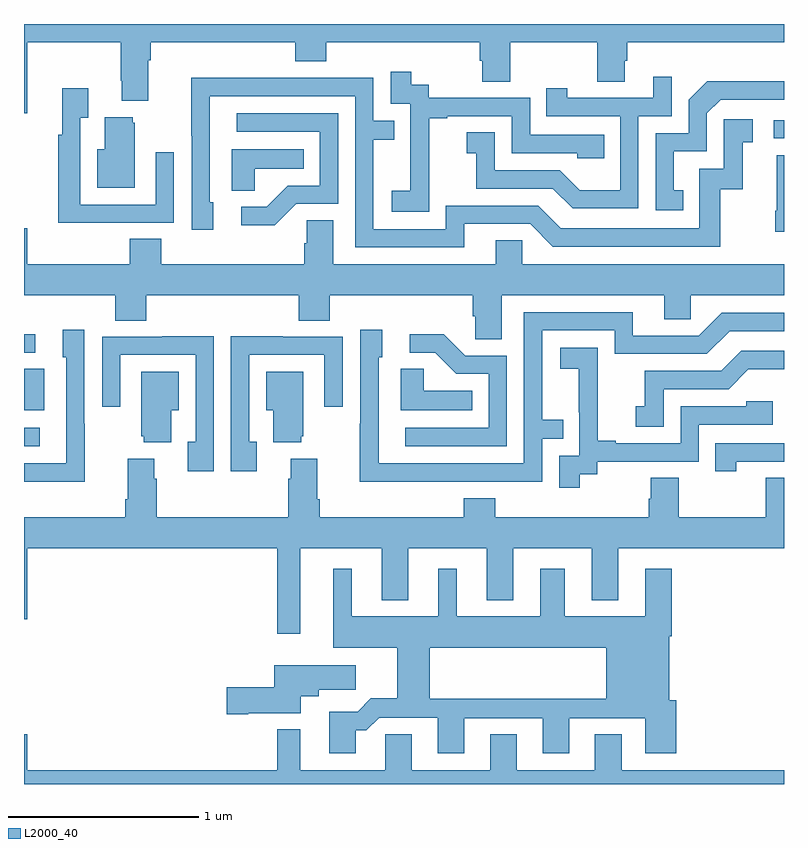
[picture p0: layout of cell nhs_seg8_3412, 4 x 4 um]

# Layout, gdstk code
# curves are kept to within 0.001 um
import gdstk
lib = gdstk.Library(unit=1e-6, precision=1e-09)
def R(c, l, rs):  # rectangles x0, y0, x1, y1
    for r in rs: c.add(gdstk.rectangle(r[:2], r[2:], *l))
def P(c, l, *ps):  # polygons
    for p in ps: c.add(gdstk.Polygon(p, *l))
L2000_40 = (2000, 40)

nhs_seg8_3412 = lib.new_cell('nhs_seg8_3412')
R(nhs_seg8_3412, L2000_40, [(321,1143.678,321.082,1143.774), (321,1143.866,321.106,1144.085), (321,1144.17,321.058,1144.268), (324.945,1145.298,325,1145.394)])
P(nhs_seg8_3412, L2000_40, [(321.016,1145.804),(321.508,1145.804),(321.508,1145.602),(321.515,1145.602),(321.515,1145.495),(321.655,1145.495),(321.655,1145.708),(321.668,1145.708),(321.668,1145.804),(322.427,1145.804),(322.427,1145.705),(322.592,1145.705),(322.592,1145.804),(323.399,1145.804),(323.399,1145.706),(323.411,1145.706),(323.411,1145.596),(323.559,1145.596),(323.559,1145.804),(324.016,1145.804),(324.016,1145.596),(324.163,1145.596),(324.163,1145.706),(324.176,1145.706),(324.176,1145.804),(325,1145.804),(325,1145.9),(321,1145.9),(321,1145.43),(321.016,1145.43)],
  [(323.133,1145.119),(323.132,1145.119),(323.132,1145.403),(323.227,1145.403),(323.227,1145.415),(323.568,1145.415),(323.568,1145.22),(323.913,1145.22),(323.913,1145.193),(324.053,1145.193),(324.053,1145.316),(323.664,1145.316),(323.664,1145.511),(323.13,1145.511),(323.13,1145.58),(323.038,1145.58),(323.038,1145.65),(322.929,1145.65),(322.929,1145.481),(323.034,1145.481),(323.034,1145.252),(323.033,1145.252),(323.033,1145.023),(322.935,1145.023),(322.935,1144.913),(323.133,1144.913)],
  [(324.234,1145.415),(324.408,1145.415),(324.408,1145.623),(324.311,1145.623),(324.311,1145.511),(323.86,1145.511),(323.86,1145.563),(323.749,1145.563),(323.749,1145.415),(324.138,1145.415),(324.138,1145.026),(323.924,1145.026),(323.82,1145.13),(323.478,1145.13),(323.478,1145.329),(323.331,1145.329),(323.331,1145.219),(323.38,1145.219),(323.38,1145.034),(323.783,1145.034),(323.888,1144.929),(324.234,1144.929)],
  [(323.317,1144.848),(323.664,1144.848),(323.784,1144.728),(324.664,1144.728),(324.664,1145.031),(324.782,1145.031),(324.782,1145.277),(324.835,1145.277),(324.835,1145.398),(324.684,1145.398),(324.684,1145.139),(324.555,1145.139),(324.555,1144.824),(323.826,1144.824),(323.706,1144.944),(323.22,1144.944),(323.22,1144.821),(322.839,1144.821),(322.839,1145.29),(322.949,1145.29),(322.949,1145.391),(322.839,1145.391),(322.839,1145.616),(322.343,1145.616),(322.343,1145.618),(321.88,1145.618),(321.88,1145.311),(321.882,1145.311),(321.882,1144.818),(321.997,1144.818),(321.997,1144.962),(321.978,1144.962),(321.978,1145.52),(322.743,1145.52),(322.743,1144.725),(323.317,1144.725)],
  [(324.47,1145.025),(324.421,1145.025),(324.421,1145.229),(324.594,1145.229),(324.594,1145.43),(324.666,1145.502),(325,1145.502),(325,1145.6),(324.596,1145.6),(324.498,1145.502),(324.498,1145.325),(324.324,1145.325),(324.324,1144.92),(324.47,1144.92)],
  [(321.473,1144.854),(321.789,1144.854),(321.789,1145.224),(321.693,1145.224),(321.693,1144.95),(321.297,1144.95),(321.297,1145.407),(321.337,1145.407),(321.337,1145.563),(321.2,1145.563),(321.2,1145.318),(321.181,1145.318),(321.181,1144.853),(321.473,1144.853)],
  [(322.434,1144.953),(322.653,1144.953),(322.653,1145.43),(322.119,1145.43),(322.119,1145.334),(322.557,1145.334),(322.557,1145.049),(322.388,1145.049),(322.277,1144.938),(322.143,1144.938),(322.143,1144.841),(322.321,1144.841)],
  [(321.583,1145.379),(321.572,1145.379),(321.572,1145.41),(321.425,1145.41),(321.425,1145.242),(321.386,1145.242),(321.386,1145.039),(321.583,1145.039)],
  [(322.215,1145.138),(322.472,1145.138),(322.472,1145.242),(322.094,1145.242),(322.094,1145.023),(322.215,1145.023)],
  [(325,1145.209),(324.962,1145.209),(324.962,1144.918),(324.955,1144.918),(324.955,1144.806),(325,1144.806)],
  [(323.622,1144.763),(323.483,1144.763),(323.483,1144.636),(322.627,1144.636),(322.627,1144.868),(322.488,1144.868),(322.488,1144.745),(322.475,1144.745),(322.475,1144.636),(321.722,1144.636),(321.722,1144.769),(321.557,1144.769),(321.557,1144.636),(321.016,1144.636),(321.016,1144.825),(321,1144.825),(321,1144.472),(321.479,1144.472),(321.479,1144.339),(321.644,1144.339),(321.644,1144.472),(322.445,1144.472),(322.445,1144.339),(322.61,1144.339),(322.61,1144.472),(323.363,1144.472),(323.363,1144.363),(323.376,1144.363),(323.376,1144.24),(323.515,1144.24),(323.515,1144.472),(324.371,1144.472),(324.371,1144.345),(324.51,1144.345),(324.51,1144.472),(325,1144.472),(325,1144.636),(323.622,1144.636)],
  [(323.231,1143.492),(323.727,1143.492),(323.727,1143.717),(323.837,1143.717),(323.837,1143.818),(323.727,1143.818),(323.727,1144.287),(324.108,1144.287),(324.108,1144.164),(324.594,1144.164),(324.714,1144.284),(325,1144.284),(325,1144.38),(324.672,1144.38),(324.552,1144.26),(324.205,1144.26),(324.205,1144.383),(323.631,1144.383),(323.631,1143.588),(322.866,1143.588),(322.866,1144.146),(322.885,1144.146),(322.885,1144.291),(322.77,1144.291),(322.77,1143.797),(322.768,1143.797),(322.768,1143.491)],
  [(321.321,1143.797),(321.318,1143.797),(321.318,1144.291),(321.203,1144.291),(321.203,1144.146),(321.222,1144.146),(321.222,1143.588),(321,1143.588),(321,1143.491),(321.321,1143.491)],
  [(323.541,1144.155),(323.322,1144.155),(323.209,1144.268),(323.031,1144.268),(323.031,1144.17),(323.165,1144.17),(323.276,1144.059),(323.445,1144.059),(323.445,1143.774),(323.007,1143.774),(323.007,1143.678),(323.541,1143.678)],
  [(321.999,1144.256),(321.727,1144.256),(321.727,1144.254),(321.411,1144.254),(321.411,1143.885),(321.507,1143.885),(321.507,1144.158),(321.903,1144.158),(321.903,1143.702),(321.863,1143.702),(321.863,1143.546),(321.999,1143.546)],
  [(322.225,1143.702),(322.185,1143.702),(322.185,1144.158),(322.581,1144.158),(322.581,1143.885),(322.677,1143.885),(322.677,1144.254),(322.361,1144.254),(322.361,1144.256),(322.089,1144.256),(322.089,1143.546),(322.225,1143.546)],
  [(323.926,1143.529),(324.018,1143.529),(324.018,1143.597),(324.552,1143.597),(324.552,1143.792),(324.941,1143.792),(324.941,1143.915),(324.801,1143.915),(324.801,1143.888),(324.456,1143.888),(324.456,1143.693),(324.115,1143.693),(324.115,1143.706),(324.02,1143.706),(324.02,1143.989),(324.021,1143.989),(324.021,1144.195),(323.823,1144.195),(323.823,1144.085),(323.921,1144.085),(323.921,1143.857),(323.922,1143.857),(323.922,1143.627),(323.817,1143.627),(323.817,1143.459),(323.926,1143.459)],
  [(324.366,1143.978),(324.708,1143.978),(324.812,1144.082),(325,1144.082),(325,1144.179),(324.776,1144.179),(324.671,1144.074),(324.268,1144.074),(324.268,1143.889),(324.219,1143.889),(324.219,1143.78),(324.366,1143.78)],
  [(323.36,1143.97),(323.103,1143.97),(323.103,1144.085),(322.982,1144.085),(322.982,1143.866),(323.36,1143.866)],
  [(321.775,1143.866),(321.814,1143.866),(321.814,1144.069),(321.617,1144.069),(321.617,1143.729),(321.629,1143.729),(321.629,1143.698),(321.775,1143.698)],
  [(322.46,1143.729),(322.471,1143.729),(322.471,1144.069),(322.274,1144.069),(322.274,1143.866),(322.313,1143.866),(322.313,1143.698),(322.46,1143.698)],
  [(324.748,1143.597),(325,1143.597),(325,1143.693),(324.637,1143.693),(324.637,1143.546),(324.748,1143.546)],
  [(322.453,1143.14),(322.883,1143.14),(322.883,1142.867),(323.023,1142.867),(323.023,1143.14),(323.435,1143.14),(323.435,1142.867),(323.575,1142.867),(323.575,1143.14),(323.987,1143.14),(323.987,1142.867),(324.127,1142.867),(324.127,1143.14),(325,1143.14),(325,1143.512),(324.904,1143.512),(324.904,1143.304),(324.447,1143.304),(324.447,1143.512),(324.299,1143.512),(324.299,1143.402),(324.287,1143.402),(324.287,1143.304),(323.48,1143.304),(323.48,1143.403),(323.315,1143.403),(323.315,1143.304),(322.556,1143.304),(322.556,1143.4),(322.543,1143.4),(322.543,1143.613),(322.403,1143.613),(322.403,1143.506),(322.391,1143.506),(322.391,1143.304),(321.698,1143.304),(321.698,1143.506),(321.685,1143.506),(321.685,1143.613),(321.545,1143.613),(321.545,1143.4),(321.533,1143.4),(321.533,1143.304),(321,1143.304),(321,1142.766),(321.016,1142.766),(321.016,1143.14),(322.332,1143.14),(322.332,1142.691),(322.453,1142.691)],
  [(322.607,1142.281),(322.607,1142.061),(322.747,1142.061),(322.747,1142.183),(322.802,1142.183),(322.869,1142.25),(323.177,1142.25),(323.177,1142.061),(323.317,1142.061),(323.317,1142.247),(323.729,1142.247),(323.729,1142.061),(323.869,1142.061),(323.869,1142.247),(324.269,1142.247),(324.269,1142.061),(324.434,1142.061),(324.434,1142.34),(324.397,1142.34),(324.397,1142.678),(324.41,1142.678),(324.41,1143.034),(324.269,1143.034),(324.269,1142.782),(323.845,1142.782),(323.845,1143.034),(323.717,1143.034),(323.717,1142.782),(323.278,1142.782),(323.278,1143.034),(323.18,1143.034),(323.18,1142.782),(322.726,1142.782),(322.726,1143.034),(322.628,1143.034),(322.628,1142.618),(322.964,1142.618),(322.964,1142.351),(322.826,1142.351),(322.823,1142.348),(323.135,1142.348),(323.135,1142.618),(324.065,1142.618),(324.065,1142.348),(322.823,1142.348),(322.756,1142.281)],
  [(322.18,1142.273),(322.456,1142.273),(322.456,1142.363),(322.552,1142.363),(322.552,1142.395),(322.747,1142.395),(322.747,1142.524),(322.316,1142.524),(322.316,1142.408),(322.068,1142.408),(322.068,1142.266),(322.18,1142.266)],
  [(325,1141.972),(324.145,1141.972),(324.145,1142.162),(324.005,1142.162),(324.005,1141.972),(323.593,1141.972),(323.593,1142.162),(323.453,1142.162),(323.453,1141.972),(323.041,1141.972),(323.041,1142.162),(322.902,1142.162),(322.902,1141.972),(322.453,1141.972),(322.453,1142.188),(322.332,1142.188),(322.332,1141.972),(321.016,1141.972),(321.016,1142.161),(321,1142.161),(321,1141.9),(325,1141.9)])

lib.write_gds('nhs_seg8_3412.gds')
